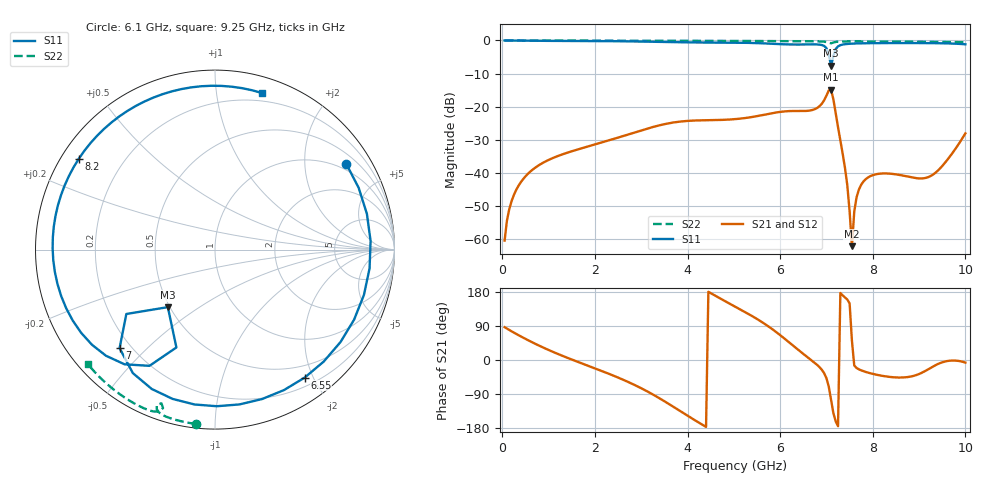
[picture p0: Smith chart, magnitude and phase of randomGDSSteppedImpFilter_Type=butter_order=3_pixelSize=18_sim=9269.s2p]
! freq	dB(S11)	phase(S11)	dB(S12)	phase(S12)
!  dB(S21)	phase(S21)	dB(S22)	phase(S22)
!S-par simulation data
#  GHz  S  DB  R 50
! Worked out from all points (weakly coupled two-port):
!   200 points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, 50 MHz to 10 GHz, reference 50 ohm
!   highest |S21| = -14.93 dB at 7.1 GHz (marker M1); lowest = -62.2 dB at 7.55 GHz (marker M2)
!   lowest |S11| = -7.7 dB at 7.1 GHz (marker M3), VSWR 2.42, Z = 24.4 - j18.9 ohm
!   |S11| at or under -10 dB: nowhere
!   |S22| runs from -0.8 to 0.0 dB; largest |S21 - S12| = 0
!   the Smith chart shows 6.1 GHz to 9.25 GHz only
!   S11 on the Smith chart (normalised r, x): 6.1 GHz: 0.78, +3.17; 6.55 GHz: 0.32, -1.88; 7 GHz: 0.16, -0.41; 8.2 GHz: 0.05, +0.30; 9.25 GHz: 0.13, +1.34
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0.05  -0.00 -6.2  -60.55 86.6  -60.55 86.6  -0.00 -0.9
0.25  -0.04 -30.6  -46.75 72.3  -46.75 72.3  -0.01 -4.3
0.8  -0.11 -91.1  -37.66 37.6  -37.66 37.6  -0.02 -13.7
1.75  -0.16 -172.5  -32.48 -10.5  -32.48 -10.5  -0.04 -29.6
2.75  -0.28 104.6  -28.30 -59.7  -28.30 -59.7  -0.07 -46.0
3.4  -0.45 32.7  -25.66 -101.4  -25.66 -101.4  -0.09 -56.3
3.8  -0.55 -20.0  -24.61 -131.5  -24.61 -131.5  -0.10 -62.5
4.25  -0.61 -79.2  -24.18 -165.7  -24.18 -165.7  -0.12 -69.3
5.05  -0.67 -172.0  -23.78 139.5  -23.78 139.5  -0.15 -81.2
5.7  -0.91 104.3  -22.36 92.6  -22.36 92.6  -0.18 -90.5
6.1  -1.17 33.2  -21.46 55.9  -21.46 55.9  -0.20 -96.2
6.55  -1.20 -55.0  -21.33 11.4  -21.33 11.4  -0.23 -102.6
6.7  -1.18 -81.0  -21.02 -2.8  -21.02 -2.8  -0.25 -104.8
7  -2.34 -134.1  -16.69 -48.1  -16.69 -48.1  -0.48 -110.0
7.1  -7.65 -129.3  -14.93 -105.8  -14.93 -105.8  -0.85 -109.2
7.45  -1.05 -153.5  -43.81 159.6  -43.81 159.6  -0.28 -113.4
7.55  -0.96 -163.2  -62.24 50.8  -62.24 50.8  -0.28 -114.9
7.7  -0.89 -176.3  -45.12 -24.6  -45.12 -24.6  -0.28 -117.1
8.2  -0.80 146.3  -40.25 -41.7  -40.25 -41.7  -0.32 -123.9
8.35  -0.79 136.0  -40.28 -44.4  -40.28 -44.4  -0.33 -126.0
9.25  -0.81 73.2  -41.02 -20.8  -41.02 -20.8  -0.42 -137.9
10  -1.16 7.2  -28.11 -6.9  -28.11 -6.9  -0.53 -148.2
